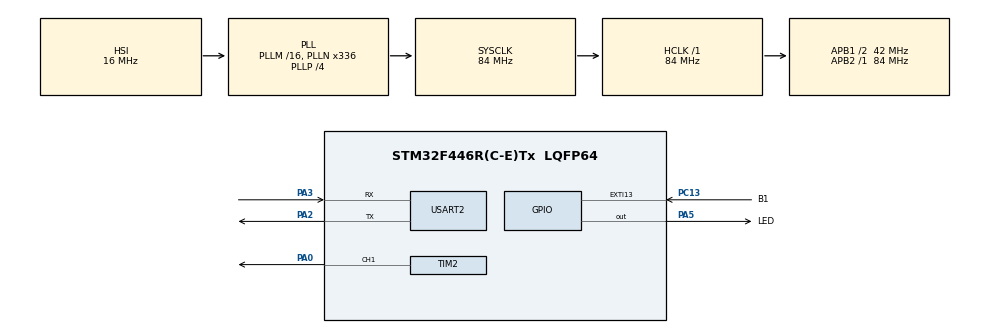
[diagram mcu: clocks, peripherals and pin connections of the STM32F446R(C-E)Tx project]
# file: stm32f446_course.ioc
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Mcu.Family=STM32F4
Mcu.Name=STM32F446R(C-E)Tx
Mcu.Package=LQFP64
NVIC.EXTI15_10_IRQn=true\:0\:0\:false\:false\:true\:true\:true\:true
NVIC.PriorityGroup=NVIC_PRIORITYGROUP_4
NVIC.TIM6_DAC_IRQn=true\:0\:0\:false\:false\:true\:true\:true\:true
NVIC.USART2_IRQn=true\:0\:0\:false\:false\:true\:true\:true\:true
PA0-WKUP.Signal=S_TIM2_CH1_ETR
PA13.Mode=Serial_Wire
PA13.Signal=SYS_JTMS-SWDIO
PA14.Mode=Serial_Wire
PA14.Signal=SYS_JTCK-SWCLK
PA2.Mode=Asynchronous
PA2.Signal=USART2_TX
PA3.Mode=Asynchronous
PA3.Signal=USART2_RX
PA5.GPIO_Label=LED
PA5.Signal=GPIO_Output
PC13.GPIO_Label=B1
PC13.GPIO_ModeDefaultEXTI=GPIO_MODE_IT_FALLING
PC13.Signal=GPXTI13
ProjectManager.HeapSize=0x200
ProjectManager.StackSize=0x400
ProjectManager.TargetToolchain=STM32CubeIDE
RCC.AHBFreq_Value=84000000
RCC.APB1CLKDivider=RCC_HCLK_DIV2
RCC.APB1Freq_Value=42000000
RCC.APB1TimFreq_Value=84000000
RCC.APB2Freq_Value=84000000
RCC.APB2TimFreq_Value=84000000
RCC.CortexFreq_Value=84000000
RCC.HCLKFreq_Value=84000000
RCC.HSI_VALUE=16000000
RCC.PLLM=16
RCC.PLLN=336
RCC.PLLP=RCC_PLLP_DIV4
RCC.PLLSourceVirtual=RCC_PLLSOURCE_HSI
RCC.SYSCLKFreq_VALUE=84000000
RCC.SYSCLKSource=RCC_SYSCLKSOURCE_PLLCLK
RCC.USBFreq_Value=168000000
RCC.VCOOutputFreq_Value=336000000
SH.S_TIM2_CH1_ETR.0=TIM2_CH1,PWM Generation1 CH1
TIM2.AutoReloadPreload=TIM_AUTORELOAD_PRELOAD_ENABLE
TIM2.Channel-PWM\ Generation1\ CH1=TIM_CHANNEL_1
TIM2.Period=4199
TIM2.Pulse-PWM\ Generation1\ CH1=2100
TIM6.Period=999
TIM6.Prescaler=8399
USART2.VirtualMode=VM_ASYNC
VP_TIM6_VS_ClockSourceINT.Mode=Enable_Timer
board=NUCLEO-F446RE

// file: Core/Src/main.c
/* USER CODE BEGIN Header */
/**
  ******************************************************************************
  * @file           : main.c
  * @brief          : Main program body
  ******************************************************************************
  * @attention
  *
  * Copyright (c) 2026 STMicroelectronics.
  * All rights reserved.
  *
  * This software is licensed under terms that can be found in the LICENSE file
  * in the root directory of this software component.
  * If no LICENSE file comes with this software, it is provided AS-IS.
  *
  ******************************************************************************
  */
/* USER CODE END Header */
#include "main.h"

/* USER CODE BEGIN Includes */
#include <stdbool.h>
/* USER CODE END Includes */

/* USER CODE BEGIN PTD */
enum RxResult { RX_EMPTY, RX_BYTE, RX_GAP };
/* USER CODE END PTD */

/* USER CODE BEGIN PD */
#define RX_CAP 64u
/* USER CODE END PD */

TIM_HandleTypeDef htim2;
TIM_HandleTypeDef htim6;

UART_HandleTypeDef huart2;

/* USER CODE BEGIN PV */
/* 관찰: 현재 입력, 확정 상태, EXTI 횟수와 확정된 눌림 횟수를 비교함. */
volatile bool button_raw_pressed;
volatile bool button_stable_pressed;
volatile uint32_t button_exti_count;
volatile uint32_t button_press_count;
static bool button_candidate;
static uint32_t button_changed_at;
/* 관찰: TIM6 콜백 처리 횟수. 인터럽트 지연 중 합쳐진 Update는 세지 못함. */
volatile uint32_t tim6_irq_count;
volatile uint32_t uart_rx_count;
volatile uint32_t uart_rx_errors;
volatile uint32_t uart_last_rx_error;
volatile uint8_t uart_last_rx_byte;
static uint8_t rx_byte;
static uint8_t rx_buf[RX_CAP];
static volatile uint32_t head, tail;
static volatile uint32_t rx_dropped;
static volatile bool rx_overflow;
static volatile bool rx_restart_pending;
volatile uint32_t rx_rearm_fail;
volatile uint32_t rx_gap_count;
volatile uint32_t rx_recovery_count;
/* USER CODE END PV */

void SystemClock_Config(void);
static void MX_GPIO_Init(void);
static void MX_TIM6_Init(void);
static void MX_TIM2_Init(void);
static void MX_USART2_UART_Init(void);
/* USER CODE BEGIN PFP */
static void Button_Poll(void);
static enum RxResult Rx_Pop(uint8_t *byte);
static void Rx_Recover(void);
/* USER CODE END PFP */

int main(void)
{

  /* MCU Configuration--------------------------------------------------------*/

  /* Reset of all peripherals, Initializes the Flash interface and the Systick. */
  HAL_Init();

  /* Configure the system clock */
  SystemClock_Config();

  /* Initialize all configured peripherals */
  MX_GPIO_Init();
  MX_TIM6_Init();
  MX_TIM2_Init();
  MX_USART2_UART_Init();
  /* USER CODE BEGIN 2 */
  /* 27강: Group 4에서 USART2 선점 우선순위 5. 생성된 MSP의 0을 덮어씀. */
  HAL_NVIC_SetPriority(USART2_IRQn, 5u, 0u);
  HAL_NVIC_ClearPendingIRQ(USART2_IRQn);
  if (HAL_UART_Receive_IT(&huart2, &rx_byte, 1u) != HAL_OK)
  {
    Error_Handler();
  }
  /* 25강: PCLK1=42MHz、115200/8N1、16배 샘플링. 현재 HAL의 BRR=0x016C. */
  /* 시작부터 눌려 있으면 20ms 안정 확인 후 첫 눌림으로 판정함. */
  button_candidate = (GPIOC->IDR & (1u << 13)) == 0u;
  button_raw_pressed = button_candidate;
  button_changed_at = HAL_GetTick();
  /* 24강: PA0의 TIM2_CH1이 CPU 개입 없이 20kHz, 50% PWM을 생성함. */
  /* 84MHz / (0+1) / (4199+1) = 20kHz, CCR1=2100이면 50%. */
  if (HAL_TIM_PWM_Start(&htim2, TIM_CHANNEL_1) != HAL_OK)
  {
    Error_Handler();
  }
  /* 시작 직후 Duty를 바꾸지 않음. 버튼 요청 전까지 50%를 유지함. */
  /* 23강: TIM6 84MHz / (8399+1) / (999+1) = 10Hz, Update 간격 100ms. */
  /* HAL 초기화의 UG가 버퍼링된 PSC를 반영하며 UIF도 세울 수 있음. */
  __HAL_TIM_CLEAR_FLAG(&htim6, TIM_FLAG_UPDATE);
  HAL_NVIC_ClearPendingIRQ(TIM6_DAC_IRQn);
  /* HAL_Init의 Group 4 유지: 선점 4비트, 서브 0비트. MSP의 0을 덮어씀. */
  HAL_NVIC_SetPriority(TIM6_DAC_IRQn, 5, 0);
  /* 관찰: NVIC_GetPriorityGrouping() == 3, TIM6 논리 우선순위 == 5. */
  /* NVIC 허용은 MSP에서 생성됨. Start_IT는 TIM6의 UIE와 카운터를 켬. */
  if (HAL_TIM_Base_Start_IT(&htim6) != HAL_OK)
  {
    Error_Handler();
  }
  /* USER CODE END 2 */

  /* Infinite loop */
  while (1)
  {

    /* USER CODE BEGIN 3 */
    Rx_Recover();
    /* ISR은 저장, main은 소비. 배열 64칸 중 63바이트를 사용할 수 있음. */
    uint8_t byte;
    enum RxResult result = Rx_Pop(&byte);
    if (result == RX_BYTE)
    {
      uart_rx_count++;
      uart_last_rx_byte = byte;
    }
    else if (result == RX_GAP)
    {
      /* 손실 전후 데이터를 이어 붙이지 않음. 향후 파서는 여기서 초기화함. */
      rx_gap_count++;
    }
    /* TIM6 폴링 없이 버튼을 처리함. LED는 TIM6 콜백만 제어함. */
    Button_Poll();
  }
  /* USER CODE END 3 */
}

void SystemClock_Config(void)
{
  RCC_OscInitTypeDef RCC_OscInitStruct = {0};
  RCC_ClkInitTypeDef RCC_ClkInitStruct = {0};

  /** Configure the main internal regulator output voltage
  */
  __HAL_RCC_PWR_CLK_ENABLE();
  __HAL_PWR_VOLTAGESCALING_CONFIG(PWR_REGULATOR_VOLTAGE_SCALE3);

  /** Initializes the RCC Oscillators according to the specified parameters
  * in the RCC_OscInitTypeDef structure.
  */
  RCC_OscInitStruct.OscillatorType = RCC_OSCILLATORTYPE_HSI;
  RCC_OscInitStruct.HSIState = RCC_HSI_ON;
  RCC_OscInitStruct.HSICalibrationValue = RCC_HSICALIBRATION_DEFAULT;
  RCC_OscInitStruct.PLL.PLLState = RCC_PLL_ON;
  RCC_OscInitStruct.PLL.PLLSource = RCC_PLLSOURCE_HSI;
  RCC_OscInitStruct.PLL.PLLM = 16;
  RCC_OscInitStruct.PLL.PLLN = 336;
  RCC_OscInitStruct.PLL.PLLP = RCC_PLLP_DIV4;
  RCC_OscInitStruct.PLL.PLLQ = 2;
  RCC_OscInitStruct.PLL.PLLR = 2;
  if (HAL_RCC_OscConfig(&RCC_OscInitStruct) != HAL_OK)
  {
    Error_Handler();
  }

  /** Initializes the CPU, AHB and APB buses clocks
  */
  RCC_ClkInitStruct.ClockType = RCC_CLOCKTYPE_HCLK|RCC_CLOCKTYPE_SYSCLK
                              |RCC_CLOCKTYPE_PCLK1|RCC_CLOCKTYPE_PCLK2;
  RCC_ClkInitStruct.SYSCLKSource = RCC_SYSCLKSOURCE_PLLCLK;
  RCC_ClkInitStruct.AHBCLKDivider = RCC_SYSCLK_DIV1;
  RCC_ClkInitStruct.APB1CLKDivider = RCC_HCLK_DIV2;
  RCC_ClkInitStruct.APB2CLKDivider = RCC_HCLK_DIV1;

  if (HAL_RCC_ClockConfig(&RCC_ClkInitStruct, FLASH_LATENCY_2) != HAL_OK)
  {
    Error_Handler();
  }
}

static void MX_TIM2_Init(void)
{

  TIM_MasterConfigTypeDef sMasterConfig = {0};
  TIM_OC_InitTypeDef sConfigOC = {0};

  htim2.Instance = TIM2;
  htim2.Init.Prescaler = 0;
  htim2.Init.CounterMode = TIM_COUNTERMODE_UP;
  htim2.Init.Period = 4199;
  htim2.Init.ClockDivision = TIM_CLOCKDIVISION_DIV1;
  htim2.Init.AutoReloadPreload = TIM_AUTORELOAD_PRELOAD_ENABLE;
  if (HAL_TIM_PWM_Init(&htim2) != HAL_OK)
  {
    Error_Handler();
  }
  sMasterConfig.MasterOutputTrigger = TIM_TRGO_RESET;
  sMasterConfig.MasterSlaveMode = TIM_MASTERSLAVEMODE_DISABLE;
  if (HAL_TIMEx_MasterConfigSynchronization(&htim2, &sMasterConfig) != HAL_OK)
  {
    Error_Handler();
  }
  sConfigOC.OCMode = TIM_OCMODE_PWM1;
  sConfigOC.Pulse = 2100;
  sConfigOC.OCPolarity = TIM_OCPOLARITY_HIGH;
  sConfigOC.OCFastMode = TIM_OCFAST_DISABLE;
  if (HAL_TIM_PWM_ConfigChannel(&htim2, &sConfigOC, TIM_CHANNEL_1) != HAL_OK)
  {
    Error_Handler();
  }
  HAL_TIM_MspPostInit(&htim2);

}

static void MX_TIM6_Init(void)
{

  TIM_MasterConfigTypeDef sMasterConfig = {0};

  htim6.Instance = TIM6;
  htim6.Init.Prescaler = 8399;
  htim6.Init.CounterMode = TIM_COUNTERMODE_UP;
  htim6.Init.Period = 999;
  htim6.Init.AutoReloadPreload = TIM_AUTORELOAD_PRELOAD_DISABLE;
  if (HAL_TIM_Base_Init(&htim6) != HAL_OK)
  {
    Error_Handler();
  }
  sMasterConfig.MasterOutputTrigger = TIM_TRGO_RESET;
  sMasterConfig.MasterSlaveMode = TIM_MASTERSLAVEMODE_DISABLE;
  if (HAL_TIMEx_MasterConfigSynchronization(&htim6, &sMasterConfig) != HAL_OK)
  {
    Error_Handler();
  }

}

static void MX_USART2_UART_Init(void)
{

  huart2.Instance = USART2;
  huart2.Init.BaudRate = 115200;
  huart2.Init.WordLength = UART_WORDLENGTH_8B;
  huart2.Init.StopBits = UART_STOPBITS_1;
  huart2.Init.Parity = UART_PARITY_NONE;
  huart2.Init.Mode = UART_MODE_TX_RX;
  huart2.Init.HwFlowCtl = UART_HWCONTROL_NONE;
  huart2.Init.OverSampling = UART_OVERSAMPLING_16;
  if (HAL_UART_Init(&huart2) != HAL_OK)
  {
    Error_Handler();
  }

}

static void MX_GPIO_Init(void)
{
  GPIO_InitTypeDef GPIO_InitStruct = {0};

  /* GPIO Ports Clock Enable */
  __HAL_RCC_GPIOC_CLK_ENABLE();
  __HAL_RCC_GPIOA_CLK_ENABLE();

  /*Configure GPIO pin Output Level */
  HAL_GPIO_WritePin(LED_GPIO_Port, LED_Pin, GPIO_PIN_RESET);

  /*Configure GPIO pin : B1_Pin */
  GPIO_InitStruct.Pin = B1_Pin;
  GPIO_InitStruct.Mode = GPIO_MODE_IT_FALLING;
  GPIO_InitStruct.Pull = GPIO_NOPULL;
  HAL_GPIO_Init(B1_GPIO_Port, &GPIO_InitStruct);

  /*Configure GPIO pin : LED_Pin */
  GPIO_InitStruct.Pin = LED_Pin;
  GPIO_InitStruct.Mode = GPIO_MODE_OUTPUT_PP;
  GPIO_InitStruct.Pull = GPIO_NOPULL;
  GPIO_InitStruct.Speed = GPIO_SPEED_FREQ_LOW;
  HAL_GPIO_Init(LED_GPIO_Port, &GPIO_InitStruct);

  /* EXTI interrupt init*/
  HAL_NVIC_SetPriority(EXTI15_10_IRQn, 0, 0);
  HAL_NVIC_EnableIRQ(EXTI15_10_IRQn);

}

/* USER CODE BEGIN 4 */
static void Rx_PushFromISR(uint8_t byte)
{
  uint32_t next = (head + 1u) % RX_CAP;
  if (rx_overflow || next == tail)
  {
    rx_overflow = true;
    rx_dropped++;
    return;
  }
  rx_buf[head] = byte;
  head = next;
}

static enum RxResult Rx_Pop(uint8_t *byte)
{
  /* volatile만으로 보호되지 않음. 짧게 마스킹하고 이전 상태를 복원함. */
  uint32_t saved = __get_PRIMASK();
  __disable_irq();
  enum RxResult result = RX_EMPTY;
  if (rx_overflow)
  {
    rx_dropped += (head + RX_CAP - tail) % RX_CAP;
    tail = head;
    rx_overflow = false;
    result = RX_GAP;
  }
  else if (head != tail)
  {
    *byte = rx_buf[tail];
    tail = (tail + 1u) % RX_CAP;
    result = RX_BYTE;
  }
  __set_PRIMASK(saved);
  return result;
}

void HAL_UART_RxCpltCallback(UART_HandleTypeDef *huart)
{
  if (huart->Instance == USART2)
  {
    /* 오류가 있는 바이트는 큐에 넣지 않음. 재수신하면 ErrorCode가 지워짐. */
    /* 뒤이어 호출될 ErrorCallback이 기록하고 main의 Rx_Recover가 재시작함. */
    if (HAL_UART_GetError(huart) != HAL_UART_ERROR_NONE)
    {
      return;
    }
    Rx_PushFromISR(rx_byte);
    if (!rx_restart_pending &&
        HAL_UART_Receive_IT(huart, &rx_byte, 1u) != HAL_OK)
    {
      rx_rearm_fail++;
      rx_overflow = true;
      rx_restart_pending = true;
    }
  }
}

void HAL_UART_ErrorCallback(UART_HandleTypeDef *huart)
{
  if (huart->Instance == USART2)
  {
    uart_last_rx_error = HAL_UART_GetError(huart);
    uart_rx_errors++;
    rx_overflow = true;
    rx_restart_pending = true;
  }
}

static void Rx_Recover(void)
{
  if (!rx_restart_pending)
  {
    return;
  }
  /* main에서만 복구. 이 강의는 DMA 없이 1바이트 IT 수신만 사용함. */
  uint32_t saved = __get_PRIMASK();
  __disable_irq();
  HAL_StatusTypeDef status = HAL_UART_AbortReceive(&huart2);
  if (status == HAL_OK)
  {
    /* 수신을 멈춘 뒤 SR->DR로 잔여 오류/데이터를 버림. */
    __HAL_UART_CLEAR_OREFLAG(&huart2);
    HAL_NVIC_ClearPendingIRQ(USART2_IRQn);
    /* 큐는 다음 Rx_Pop에서 비우고 RX_GAP을 먼저 전달함. */
    rx_overflow = true;
    status = HAL_UART_Receive_IT(&huart2, &rx_byte, 1u);
  }
  if (status == HAL_OK)
  {
    rx_restart_pending = false;
    rx_recovery_count++;
  }
  __set_PRIMASK(saved);
  if (status != HAL_OK)
  {
    /* 복구 실패를 무한 재시도로 숨기지 않음. */
    Error_Handler();
  }
}

static void Button_Poll(void)
{
  bool raw = (GPIOC->IDR & (1u << 13)) == 0u;
  uint32_t now = HAL_GetTick();
  button_raw_pressed = raw;

  if (raw != button_candidate)
  {
    button_candidate = raw;
    button_changed_at = now;
  }

  /* 1ms HAL tick 기준의 예시값. 20ms는 모든 버튼의 최적값이 아님. */
  /* unsigned 차이는 tick이 한 바퀴 돌아도 짧은 경과 시간을 계산함. */
  if ((uint32_t)(now - button_changed_at) >= 20u &&
      button_stable_pressed != button_candidate)
  {
    button_stable_pressed = button_candidate;
    if (button_stable_pressed)
    {
      button_press_count++;
      /* 24강 단계 B: 확정된 버튼 눌림으로 25%를 요청함. */
      /* OC1 preload에 의해 다음 Update에 반영됨. 주파수는 20kHz 유지. */
      __HAL_TIM_SET_COMPARE(&htim2, TIM_CHANNEL_1, 1050u);
      /* 버튼은 눌림 횟수만 기록하고 LED를 변경하지 않음. */
    }
  }
}

void HAL_TIM_PeriodElapsedCallback(TIM_HandleTypeDef *htim)
{
  if (htim->Instance == TIM6)
  {
    /* TIM6_DAC_IRQHandler -> HAL_TIM_IRQHandler -> 이 콜백 순서임. */
    /* HAL이 UIF/UIE 확인과 UIF 해제를 수행함. DAC 인터럽트는 사용하지 않음. */
    tim6_irq_count++;
    HAL_GPIO_TogglePin(LED_GPIO_Port, LED_Pin);
    /* 약 100ms마다 전환. ISR에서는 대기하지 않음. */
    /* 인터럽트 마스킹/선점으로 전환이 늦어질 수 있어 정밀 PWM은 아님. */
  }
}

void HAL_GPIO_EXTI_Callback(uint16_t GPIO_Pin)
{
  if (GPIO_Pin == B1_Pin)
  {
    /* ISR은 기록만 함. 바운스로 한 번 눌러도 여러 번 호출될 수 있음. */
    /* EXTI 횟수는 물리적 눌림 횟수가 아님. ISR에서 HAL_Delay를 쓰지 않음. */
    button_exti_count++;
  }
}
/* USER CODE END 4 */

void Error_Handler(void)
{
  __disable_irq();
  while (1)
  {
  }
}
